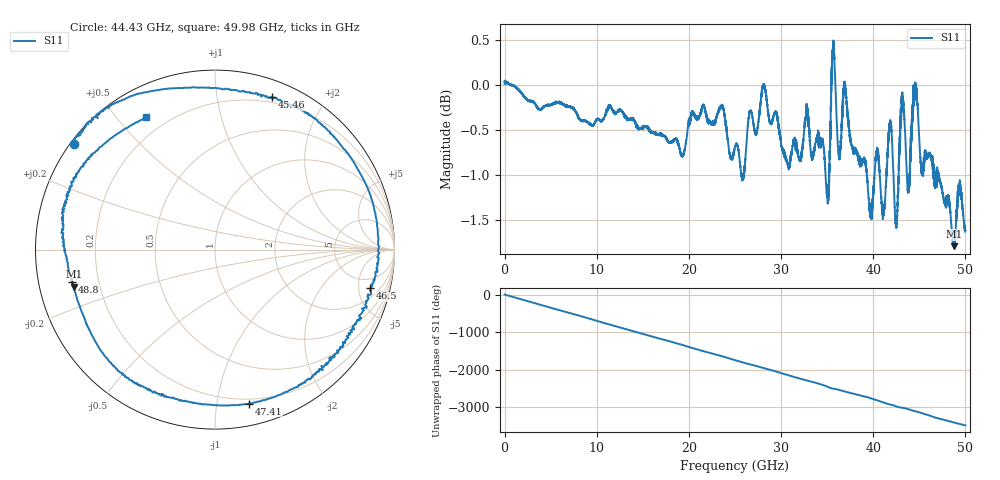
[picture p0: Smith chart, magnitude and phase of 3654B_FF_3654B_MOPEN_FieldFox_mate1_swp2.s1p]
!Created with skrf (http://scikit-rf.org).
# Hz S RI R 50.0
!freq ReS11 ImS11
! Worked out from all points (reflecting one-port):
!   10001 points, 300 kHz to 50 GHz, reference 50 ohm
!   lowest |S11| = -1.8 dB at 48.77 GHz (marker M1), VSWR 9.77, Z = 5.2 - j6.4 ohm
!   phase of S11 starts at 0 deg and turns -3484 deg over the sweep
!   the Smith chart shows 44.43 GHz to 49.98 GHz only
!   S11 on the Smith chart (normalised r, x): 44.43 GHz: 0.01, +0.33; 45.46 GHz: 0.15, +1.43; 46.5 GHz: 3.19, -6.70; 47.41 GHz: 0.16, -1.23; 48.8 GHz: 0.10, -0.11; 49.98 GHz: 0.13, +0.60
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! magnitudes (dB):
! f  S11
! 300 kHz  0.0
! 6.25 GHz  -0.2
! 12.5 GHz  -0.3
! 18.75 GHz  -0.6
! 25 GHz  -0.7
! 28.11 GHz  0.0
! 31.25 GHz  -0.7
! 32.81 GHz  -0.2
! 35.01 GHz  -1.2
! 35.69 GHz  0.5
! 36.27 GHz  -0.8
! 36.91 GHz  0.0
! 37.5 GHz  -0.6
! 39.74 GHz  -1.4
! 40.42 GHz  -0.7
! 41.14 GHz  -1.4
! 41.86 GHz  -0.4
! 42.48 GHz  -1.6
! 43.19 GHz  -0.2
! 43.75 GHz  -1.2
! 44.43 GHz  -0.1
! 45.46 GHz  -0.9
! 46.5 GHz  -1.0
! 47.41 GHz  -1.1
! 48.77 GHz  -1.8
! 48.8 GHz  -1.8
! 49.98 GHz  -1.6
! 50 GHz  -1.6
